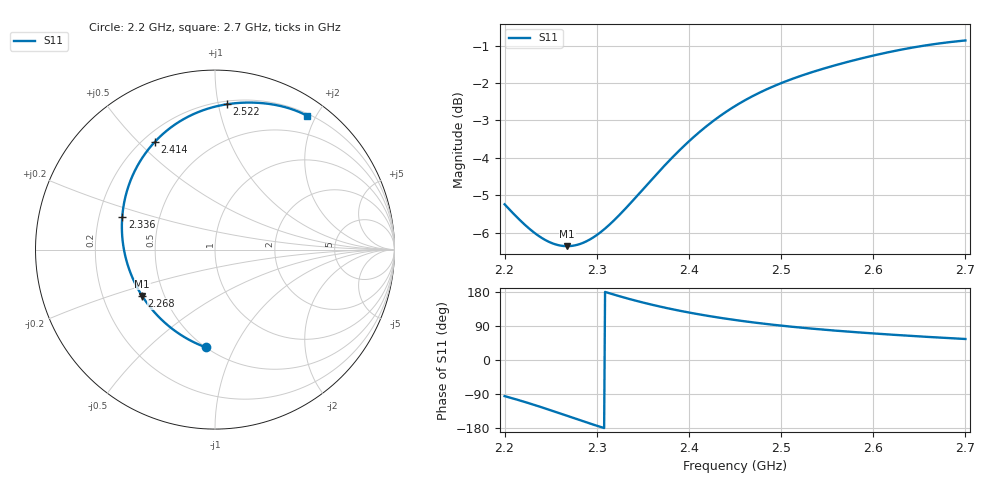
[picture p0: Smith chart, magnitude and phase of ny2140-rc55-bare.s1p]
! PRELIMINARY bare PCB unless shell_eps > 0; see README.md
! L220 output ($1N324); all Gerber copper, components omitted (C216/L220/C217 not populated)
# Hz S RI R 50
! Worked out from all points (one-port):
!   501 points, 2.2 GHz to 2.7 GHz, reference 50 ohm
!   lowest |S11| = -6.4 dB at 2.268 GHz (marker M1), VSWR 2.85, Z = 18.8 - j12.7 ohm
!   |S11| at or under -10 dB: nowhere
!   S11 on the Smith chart (normalised r, x): 2.2 GHz: 0.50, -0.78; 2.268 GHz: 0.38, -0.25; 2.336 GHz: 0.30, +0.16; 2.414 GHz: 0.25, +0.56; 2.522 GHz: 0.22, +1.06; 2.7 GHz: 0.23, +1.88
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2.2e9  -0.0505 -0.5448
2.214e9  -0.1354 -0.5072
2.23e9  -0.2272 -0.4498
2.246e9  -0.3104 -0.3778
2.263e9  -0.3862 -0.2876
2.268e9  -0.4056 -0.2588
2.283e9  -0.4552 -0.1672
2.297e9  -0.489 -0.0768
2.311e9  -0.5101 0.0163
2.325e9  -0.5187 0.1098
2.336e9  -0.5169 0.1823
2.348e9  -0.5068 0.259
2.361e9  -0.487 0.3383
2.374e9  -0.4591 0.4124
2.388e9  -0.4213 0.4855
2.414e9  -0.3354 0.6001
2.432e9  -0.2683 0.663
2.45e9  -0.1986 0.7128
2.465e9  -0.1403 0.7452
2.48e9  -0.0831 0.7702
2.513e9  0.0359 0.8044
2.522e9  0.0663 0.8098
2.547e9  0.1458 0.818
2.575e9  0.2273 0.8184
2.606e9  0.3094 0.8105
2.638e9  0.3867 0.7946
2.672e9  0.4603 0.7702
2.7e9  0.5138 0.7454
